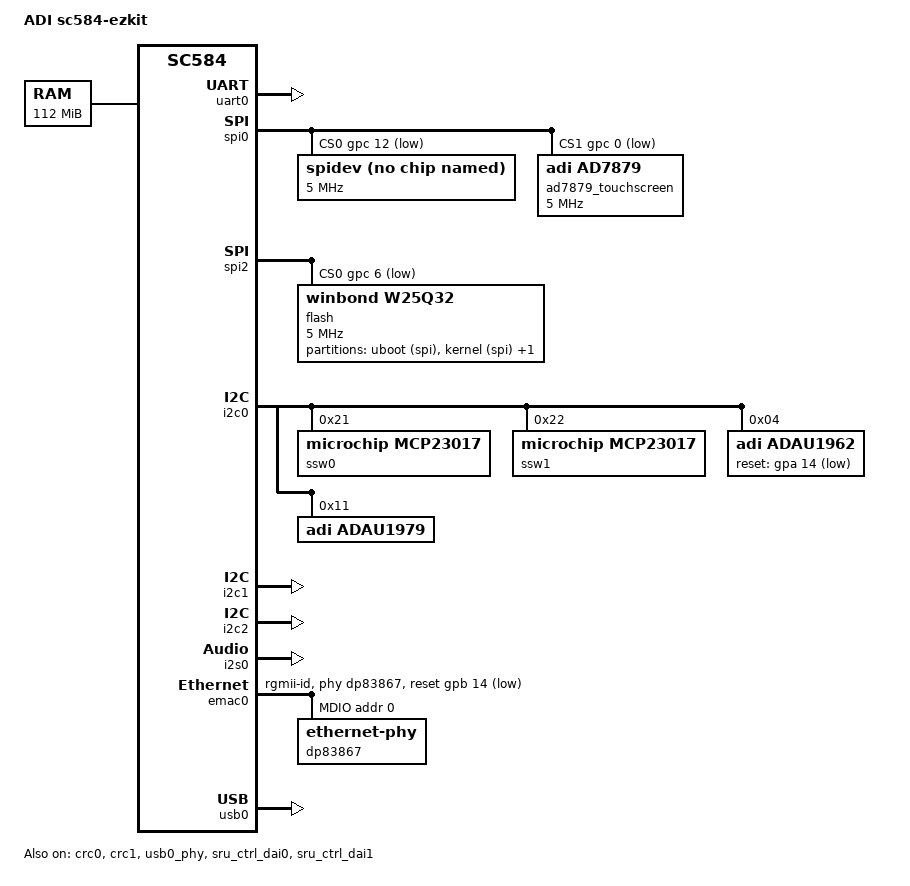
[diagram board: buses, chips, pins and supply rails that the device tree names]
/*
 * Device tree for ADI sc584-ezkit board
 *
 * Copyright 2014 - 2018 Analog Devices Inc.
 *
 * Licensed under the GPL-2 or later.
 *
 */

/dts-v1/;

#include <dt-bindings/input/input.h>
#include <dt-bindings/gpio/gpio.h>
#include <dt-bindings/net/ti-dp83867.h>
#include <dt-bindings/pinctrl/adi-adsp.h>
#include <dt-bindings/pinctrl/adi-adsp-sru.h>
#include "sc58x.dtsi"

/ {
	model = "ADI sc584-ezkit";
	compatible = "adi,sc584-ezkit", "adi,sc58x";

	aliases {
	};

	memory@89000000 {
		device_type = "memory";
		reg = <0x89000000 0x7000000>;
	};

	reserved-memory {
		vdev0vrings: vdev0vring0@200A0000 {
			reg = <0x200A0000 0x4000>;
			no-map;
		};

		vdev0buffer: vdev0buffer@200A4000 {
			compatible = "shared-dma-pool";
			reg = <0x200A4000 0xC000>;
			no-map;
		};

		vdev1vrings: vdev0vring0@200B0000 {
			reg = <0x200B0000 0x4000>;
			no-map;
		};

		vdev1buffer: vdev0buffer@200B4000 {
			compatible = "shared-dma-pool";
			reg = <0x200B4000 0xC000>;
			no-map;
		};
	};

	scb {
		button0: button@0 {
			compatible = "adi,button-led";
			en-pins = <&ssw1 2 GPIO_ACTIVE_LOW>,	/* PUSHBUTTON1_EN */
				  <&ssw1 3 GPIO_ACTIVE_LOW>;	/* LEDS_EN */
			button_gpio = <15>;
			led_gpio = <65>;
		};
		button1: button@1 {
			compatible = "adi,button-led";
			en-pins = <&ssw1 1 GPIO_ACTIVE_LOW>,	/* PUSHBUTTON2_EN */
				  <&ssw1 3 GPIO_ACTIVE_LOW>;	/* LEDS_EN */
			button_gpio = <16>;
			led_gpio = <66>;
		};
		button2: button@2 {
			compatible = "adi,button-led";
			en-pins = <&ssw1 0 GPIO_ACTIVE_LOW>,	/* PUSHBUTTON3_EN */
				  <&ssw1 3 GPIO_ACTIVE_LOW>;	/* LEDS_EN */
			button_gpio = <47>;
			led_gpio = <67>;
		};

		core1-rproc@0x28240000 {
			compatible = "adi,remoteproc";
			reg = <0x28240000 0x160000>,
					<0x20080000 0x40000>;
			core-id = <1>;
			core-irq = <76>;
			firmware-name = "adi_adsp_core1_fw.ldr";
			interrupts = <GIC_SPI 251 IRQ_TYPE_EDGE_RISING>;
			adi,rcu = <&rcu>;
			adi,l1-da = <0x240000 0x3a0000>;
			adi,l2-da = <0x20080000 0x200C0000>;
			adi,rsc-table = <&rsc_tbl0>;
			adi,tru = <&tru>;
			adi,tru-master-id = <97>; /* trigger master SOFT4 */
		};

		core2-rproc@0x28a40000 {
			compatible = "adi,remoteproc";
			reg = <0x28a40000 0x160000>,
					<0x20080000 0x40000>;
			core-id = <2>;
			core-irq = <77>;
			firmware-name = "adi_adsp_core2_fw.ldr";
			interrupts = <GIC_SPI 251 IRQ_TYPE_EDGE_RISING>;
			adi,rcu = <&rcu>;
			adi,l1-da = <0x240000 0x3a0000>;
			adi,l2-da = <0x20080000 0x200C0000>;
			adi,rsc-table = <&rsc_tbl1>;
			adi,tru = <&tru>;
			adi,tru-master-id = <98>; /* trigger master SOFT5 */
		};

		sound {
			compatible = "adi,sc5xx-asoc-card";
			adi,cpu-dai = <&i2s0>;
			adi,codec = <&adau1962>, /*<&adau1977>,*/ <&adau1979>;
		};

	};
};

&tru {
	rpmsg_to_a5: channel@0 {
		adi,tru-master-id = <96>; /* trigger master SOFT3 */
		adi,tru-slave-id = <87>; /* TRU0_IRQ3 */
	};
	rpmsg_to_sharc0: channel@1 {
		adi,tru-master-id = <97>; /* trigger master SOFT4 */
		adi,tru-slave-id = <91>; /* TRU0_IRQ7 */
	};
	rpmsg_to_sharc1: channel@2 {
		adi,tru-master-id = <98>; /* trigger master SOFT5 */
		adi,tru-slave-id = <95>; /* TRU0_IRQ11 */
	};
};

&uart0 {
	pinctrl-names = "default";
	pinctrl-0 = <&uart0_default>;
	status = "okay";
};

&spi0 {
	pinctrl-names = "default";
	pinctrl-0 = <&spi0_default>;
	status = "okay";

	cs-gpios = <&gpc 12 GPIO_ACTIVE_LOW>,
				<&gpc 0 GPIO_ACTIVE_LOW>;

	spidev {
		#address-cells = <1>;
		#size-cells = <1>;
		compatible = "rohm,dh2228fv";
		spi-max-frequency = <5000000>;
		reg = <0>;
	};

	ad7879_touchscreen {
		#address-cells = <1>;
		#size-cells = <1>;
		compatible = "adi,ad7879";
		spi-max-frequency = <5000000>;
		reg = <1>;
		gpio = <49>;
		gpio-controller;
		spi-cpha;
		spi-cpol;
		touchscreen-max-pressure = <10000>;
		adi,resistance-plate-x = <620>;
		adi,first-conversion-delay = /bits/ 8 <3>;
		adi,acquisition-time = /bits/ 8 <1>;
		adi,median-filter-size = /bits/ 8 <2>;
		adi,averaging = /bits/ 8 <1>;
		adi,conversion-interval = /bits/ 8 <255>;
	};
};

&spi2 {
	pinctrl-names = "default";
	pinctrl-0 = <&spi2_quad>;
	status = "okay";

	cs-gpios = <&gpc 6 GPIO_ACTIVE_LOW>;

	flash: w25q32@0 {
		#address-cells = <1>;
		#size-cells = <1>;
		compatible = "winbond,w25q32", "jedec,spi-nor";
		reg = <0>;
		spi-cpol;
		spi-cpha;
		spi-max-frequency = <5000000>;
		spi-rx-bus-width = <4>;
		adi,enable-dma;

		partition@0 {
			label = "uboot (spi)";
			reg = <0x0 0x80000>;
		};
		partition@1 {
			label = "kernel (spi)";
			reg = <0x80000 0x580000>;
		};
		partition@2 {
			label = "root file system (spi)";
			reg = <0x600000 0xa00000>;
		};
	};
};

&i2c0 {
	status = "okay";
	ssw0: gpio@0x21 {
		compatible = "microchip,mcp23017";
		gpio-controller;
		#gpio-cells = <2>;
		reg = <0x21>;

		eeprom {
			gpio-hog;
			gpios = <0 0x0>;
			output-high;
			line-name = "~eeprom-en";
		};

		uart0-flow-en {
			gpio-hog;
			gpios = <1 0x0>;
			output-high;
			line-name = "~uart0-flow-en";
		};

		uart0-en {
			gpio-hog;
			gpios = <2 0x0>;
			output-low;
			line-name = "~uart0-en";
		};

		mlb {
			gpio-hog;
			gpios = <5 0x0>;
			output-high;
			line-name = "~mlb-en";
		};

		can0 {
			gpio-hog;
			gpios = <6 0x0>;
			output-high;
			line-name = "~can0-en";
		};

		can1 {
			gpio-hog;
			gpios = <7 0x0>;
			output-high;
			line-name = "~can1-en";
		};

		adau1962 {
			gpio-hog;
			gpios = <8 0x0>;
			output-low;
			line-name = "~adau1962-en";
		};

		adau1979 {
			gpio-hog;
			gpios = <9 0x0>;
			output-low;
			line-name = "~adau1979-en";
		};

		audio_jack_sel {
			gpio-hog;
			gpios = <10 0x0>;
			output-low;
			line-name = "audio_jack_sel";
		};

		spi2d2-d3 {
			gpio-hog;
			gpios = <12 0x0>;
			output-low;
			line-name = "~spi2d2-d3-en";
		};

		spi2flash-cs {
			gpio-hog;
			gpios = <13 0x0>;
			output-low;
			line-name = "~spi2flash-cs";
		};

		spdif-opt {
			gpio-hog;
			gpios = <14 0x0>;
			output-high;
			line-name = "~spdif-optical-en";
		};

		spdif-dig {
			gpio-hog;
			gpios = <15 0x0>;
			output-high;
			line-name = "~spdif-digital-en";
		};
	};

	ssw1: gpio@0x22 {
		compatible = "microchip,mcp23017";
		gpio-controller;
		#gpio-cells = <2>;
		reg = <0x22>;

		pushbutton3 {
			gpio-hog;
			gpios = <0 0x0>;
			output-low;
			line-name = "~pushbutton3-en";
		};

		pushbutton2 {
			gpio-hog;
			gpios = <1 0x0>;
			output-low;
			line-name = "~pushbutton2-en";
		};

		pushbutton1 {
			gpio-hog;
			gpios = <2 0x0>;
			output-low;
			line-name = "~pushbutton1-en";
		};

		leds {
			gpio-hog;
			gpios = <3 0x0>;
			output-low;
			line-name = "~leds-en";
		};

		flg0 {
			gpio-hog;
			gpios = <4 0x0>;
			output-low;
			line-name = "~flg0_loop";
		};

		flg1 {
			gpio-hog;
			gpios = <5 0x0>;
			output-low;
			line-name = "~flg1_loop";
		};

		flg2 {
			gpio-hog;
			gpios = <6 0x0>;
			output-low;
			line-name = "~flg2_loop";
		};

		flg3 {
			gpio-hog;
			gpios = <7 0x0>;
			output-low;
			line-name = "~flg3_loop";
		};

		adau1977 {
			gpio-hog;
			gpios = <8 0x0>;
			output-low;
			line-name = "~adau1977_en";
		};

		adau1977_fault_rst {
			gpio-hog;
			gpios = <9 0x0>;
			output-high;
			line-name = "~adau1977_fault_rst_en";
		};

		thumbwheel {
			gpio-hog;
			gpios = <10 0x0>;
			output-low;
			line-name = "~thumbwheel_oe";
		};


		engine_rpm {
			gpio-hog;
			gpios = <11 0x0>;
			output-low;
			line-name = "~engine_rpm_oe";
		};
	};

	adau1962: adau1962@0x4 {
		compatible = "adi,adau1962";
		reg = <0x4>;
		reset-gpios = <&gpa 14 1>;
	};
/*
	adau1977: adau1977@0x62 {
		compatible = "adi,adau1977";
		reg = <0x62>;
	};
*/
	adau1979: adau1979@0x62 {
		compatible = "adi,adau1979";
		reg = <0x11>;
	};
};

&i2c1 {
	status = "okay";
};

&i2c2 {
	status = "okay";
};

&i2s0 {
	pinctrl-names = "default";
	pinctrl-0 = <&sru_dai1>;
	status = "okay";
};

&crc0 {
	status = "okay";
};

&crc1 {
	status = "okay";
};

/*
&can0 {
	enable-pin = <&ssw0 6 GPIO_ACTIVE_LOW>;	//CAN0_EN
	pinctrl-names = "default";
	pinctrl-0 = <&can0_default>;
	phy-name = "tja1055";
	phy-gpios = <&gpb 8 0>, //en PB8
		    <&gpb 2 0x1>; //stb PB2, GPIO_ACTIVE_LOW
	status = "okay";
};

&can1 {
	enable-pin = <&ssw0 7 GPIO_ACTIVE_LOW>;	//CAN1_EN
	pinctrl-names = "default";
	pinctrl-0 = <&can1_default>;
	phy-name = "tja1145";
	phy-spibus = /bits/ 16 <0>;
	phy-spiclk = <1000000>;
	phy-spics = /bits/ 16 <44>;	//GPIO_PC12
	status = "okay";
};
*/

&emac0 {
	snps,reset-gpio = <&gpb 14 0>;
	snps,reset-active-low;
	snps,reset-delays-us = <0 200 500>;
	phy-handle = <&dp83867>;
	phy-mode = "rgmii-id";
	pinctrl-names = "default";
	pinctrl-0 = <&eth0_default>;
	status = "okay";
	mdio0 {
		compatible = "snps,dwmac-mdio";
		#address-cells = <1>;
		#size-cells = <0>;
		dp83867: ethernet-phy@0 {
			reg = <0>;
			ti,rx-internal-delay = <DP83867_RGMIIDCTL_2_00_NS>;
			ti,tx-internal-delay = <DP83867_RGMIIDCTL_2_00_NS>;
			ti,fifo-depth = <DP83867_PHYCR_FIFO_DEPTH_8_B_NIB>;
			ti,dp83867-rxctrl-strap-quirk;
		};
	};
};

&usb0_phy {
	status = "okay";
};

&usb0 {
	/* mode = <2>; Place OTG port into Device Mode */
	/* mode = <1>; Place OTG port into Host Mode */
	mode = <1>;
	status = "okay";
};

/*
&gp_counter {
	pinctrl-names = "default";
	pinctrl-0 = <&cnt0_default>;
	enable-pin = <&ssw1 10 GPIO_ACTIVE_LOW>;
	status = "okay";
	rotary_abs_code = <ABS_WHEEL>;		// ABS_WHEEL
	rotary_button_key = <KEY_ENTER>;	// KEY_ENTER
	debounce = /bits/ 16 <10>;			// Debounce Prescale 0-17
	debounce_en = /bits/ 16 <1>;		// Debounce Enable
	cnt_mode = /bits/ 16 <QUAD_ENC>;	// Counter Operating Mode: QUADENC
	boundary_mode = /bits/ 16 <BD_COMP>;// Boundary Register Mod: COMP
	boundary_ranges =  <(-256) 256>;	// Boundary upper/lower ranges
	czm_zero_cnt_en = /bits/ 16 <1>;	// CZM Pin Zeroes Counter Enable
	invert_czm = /bits/ 16 <1>;			// Default value of CZM Pin Polarity
	invert_cud = /bits/ 16 <0>;			// Default value of CUD Pin Polarity
	invert_cdg = /bits/ 16 <0>;			// Default value of CDG Pin Polarity
};
*/

/*
&lp0 {
	pinctrl-names = "default";
	pinctrl-0 = <&lp0_default>;
	status = "okay";
};

&lp1 {
	pinctrl-names = "default";
	pinctrl-0 = <&lp1_default>;
	status = "okay";
};
*/

&sram_mmap {
	status = "okay";
};

&pinctrl0 {
	uart0_default: uart0_default_pins {
		pins {
			pinmux = <ADI_ADSP_PINMUX('C', 13, ADI_ADSP_PINFUNC_ALT0)>,
					 <ADI_ADSP_PINMUX('C', 14, ADI_ADSP_PINFUNC_ALT0)>;
		};
	};
	uart0_hwflow: uart0_hwflow_pins {
		pins {
			pinmux = <ADI_ADSP_PINMUX('C', 13, ADI_ADSP_PINFUNC_ALT0)>,
					 <ADI_ADSP_PINMUX('C', 14, ADI_ADSP_PINFUNC_ALT0)>,
					 <ADI_ADSP_PINMUX('C', 15, ADI_ADSP_PINFUNC_ALT0)>,
					 <ADI_ADSP_PINMUX('D', 0, ADI_ADSP_PINFUNC_ALT0)>;
		};
	};
	spi0_default: spi0_default_pins {
		pins {
			pinmux = <ADI_ADSP_PINMUX('C', 9, ADI_ADSP_PINFUNC_ALT0)>,
				 <ADI_ADSP_PINMUX('C', 10, ADI_ADSP_PINFUNC_ALT0)>,
					 <ADI_ADSP_PINMUX('C', 11, ADI_ADSP_PINFUNC_ALT0)>;
		};
	};
	spi1_default: spi1_default_pins {
		pins {
			pinmux = <ADI_ADSP_PINMUX('E', 13, ADI_ADSP_PINFUNC_ALT0)>,
				 <ADI_ADSP_PINMUX('E', 14, ADI_ADSP_PINFUNC_ALT0)>,
					 <ADI_ADSP_PINMUX('E', 15, ADI_ADSP_PINFUNC_ALT0)>;
		};
	};
	spi2_quad: spi2_quad_pins {
		pins {
			pinmux = <ADI_ADSP_PINMUX('C', 1, ADI_ADSP_PINFUNC_ALT0)>,
				 <ADI_ADSP_PINMUX('C', 2, ADI_ADSP_PINFUNC_ALT0)>,
				 <ADI_ADSP_PINMUX('C', 3, ADI_ADSP_PINFUNC_ALT0)>,
				 <ADI_ADSP_PINMUX('C', 4, ADI_ADSP_PINFUNC_ALT0)>,
				 <ADI_ADSP_PINMUX('C', 5, ADI_ADSP_PINFUNC_ALT0)>;
		};
	};
	eth0_default: eth0_default_pins {
		pins {
			pinmux = <ADI_ADSP_PINMUX('A', 0, ADI_ADSP_PINFUNC_ALT0)>,
				 <ADI_ADSP_PINMUX('A', 1, ADI_ADSP_PINFUNC_ALT0)>,
				 <ADI_ADSP_PINMUX('A', 2, ADI_ADSP_PINFUNC_ALT0)>,
				 <ADI_ADSP_PINMUX('A', 3, ADI_ADSP_PINFUNC_ALT0)>,
				 <ADI_ADSP_PINMUX('A', 4, ADI_ADSP_PINFUNC_ALT0)>,
				 <ADI_ADSP_PINMUX('A', 5, ADI_ADSP_PINFUNC_ALT0)>,
				 <ADI_ADSP_PINMUX('A', 6, ADI_ADSP_PINFUNC_ALT0)>,
				 <ADI_ADSP_PINMUX('A', 7, ADI_ADSP_PINFUNC_ALT0)>,
				 <ADI_ADSP_PINMUX('A', 8, ADI_ADSP_PINFUNC_ALT0)>,
				 <ADI_ADSP_PINMUX('A', 9, ADI_ADSP_PINFUNC_ALT0)>,
				 <ADI_ADSP_PINMUX('A', 10, ADI_ADSP_PINFUNC_ALT0)>,
				 <ADI_ADSP_PINMUX('A', 11, ADI_ADSP_PINFUNC_ALT0)>,
				 <ADI_ADSP_PINMUX('A', 12, ADI_ADSP_PINFUNC_ALT0)>,
				 <ADI_ADSP_PINMUX('A', 13, ADI_ADSP_PINFUNC_ALT0)>;
		};
	};
};

&sru_ctrl_dai0 {
	status = "okay";
};

&sru_ctrl_dai1 {
	status = "okay";

	sru_dai1: sru_dai1_mux {
		route {
			sru-routing =
				<DAI1_LOW_F          DAI1_PBEN02_I>,  /* set DAI1_PIN02 to input */
				<DAI1_PB02_O_ABCDE   SPT4_ACLK_I>,    /* route DAI1_PIN02 to SPT4_ACLK */
				<DAI1_LOW_F          DAI1_PBEN04_I>,  /* set DAI1_PIN04 to input */
				<DAI1_PB04_O_ABCDE   SPT4_AFS_I>,     /* route DAI1_PIN04 to SPT4_AFS */
				<DAI1_HIGH_F         DAI1_PBEN01_I>,  /* set DAI1_PIN01 to output */
				<SPT4_AD0_O_BD       DAI1_PB01_I>,    /* route SPT4_AD0 to DAI1_PIN01 */
				<DAI1_HIGH_F         DAI1_PBEN05_I>,  /* set DAI1_PIN05 to output */
				<SPT4_AD1_O_BD       DAI1_PB05_I>,    /* route SPT4_AD1 to DAI1_PIN05 */
				<DAI1_LOW_F          DAI1_PBEN12_I>,  /* set DAI1_PIN12 to input */
				<DAI1_PB12_O_ABCDE   SPT4_BCLK_I>,    /* route DAI1_PIN12 to SPT4_BCLK */
				<DAI1_LOW_F          DAI1_PBEN20_I>,  /* set DAI1_PIN20 to input */
				<DAI1_PB20_O_ABCDE   SPT4_BFS_I>,     /* route DAI1_PIN20 to SPT4_BFS */
				<DAI1_LOW_F          DAI1_PBEN06_I>,  /* set DAI1_PIN06 to input */
				<DAI1_PB06_O_ABCDE   SPT4_BD0_I>,     /* route DAI1_PIN06 to SPT4_BD0 */
				<DAI1_LOW_F          DAI1_PBEN07_I>,  /* set DAI1_PIN07 to input */
				<DAI1_PB07_O_ABCDE   SPT4_BD1_I>;     /* route DAI1_PIN07 to SPT4_BD1 */
		};
	};
};
